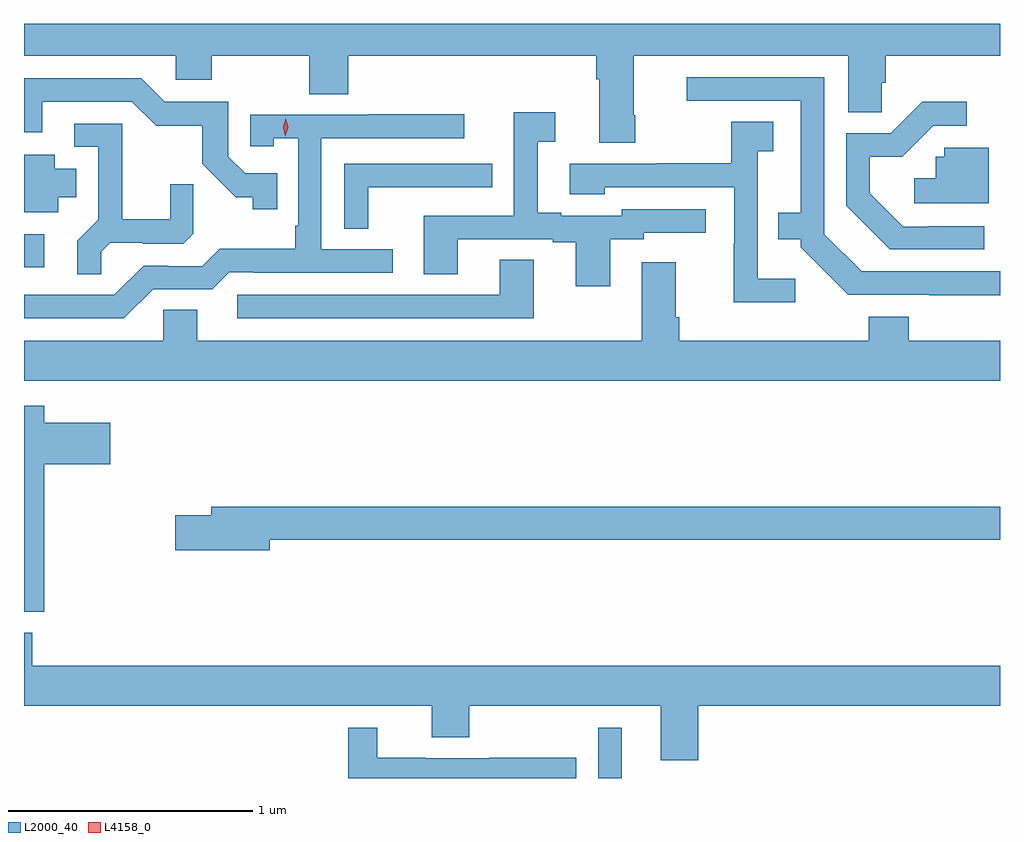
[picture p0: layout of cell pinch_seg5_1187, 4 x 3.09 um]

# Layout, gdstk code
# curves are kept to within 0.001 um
import gdstk
lib = gdstk.Library(unit=1e-6, precision=1e-09)
def R(c, l, rs):  # rectangles x0, y0, x1, y1
    for r in rs: c.add(gdstk.rectangle(r[:2], r[2:], *l))
def P(c, l, *ps):  # polygons
    for p in ps: c.add(gdstk.Polygon(p, *l))
L2000_40 = (2000, 40)
L4158_0 = (4158, 0)

pinch_seg5_1187 = lib.new_cell('pinch_seg5_1187')
R(pinch_seg5_1187, L2000_40, [(373.086,912.406,373.182,912.613), (370.733,914.501,370.816,914.637)])
P(pinch_seg5_1187, L2000_40, [(370.733,915.368),(371.355,915.368),(371.355,915.27),(371.502,915.27),(371.502,915.368),(371.902,915.368),(371.902,915.211),(372.062,915.211),(372.062,915.368),(373.079,915.368),(373.079,915.272),(373.091,915.272),(373.091,915.012),(373.239,915.012),(373.239,915.124),(373.231,915.124),(373.231,915.368),(374.111,915.368),(374.111,915.136),(374.249,915.136),(374.249,915.258),(374.264,915.258),(374.264,915.368),(374.733,915.368),(374.733,915.5),(370.733,915.5)],
  [(374.733,914.484),(374.166,914.484),(374.013,914.637),(374.013,915.279),(373.449,915.279),(373.449,915.183),(373.916,915.183),(373.916,914.725),(373.825,914.725),(373.825,914.615),(373.917,914.615),(373.917,914.583),(374.112,914.388),(374.733,914.387)],
  [(371.771,914.886),(371.64,914.886),(371.571,914.955),(371.571,915.18),(371.31,915.18),(371.214,915.276),(370.733,915.276),(370.733,915.054),(370.807,915.054),(370.807,915.18),(371.175,915.18),(371.274,915.082),(371.463,915.082),(371.463,914.926),(371.6,914.789),(371.67,914.789),(371.67,914.739),(371.771,914.739)],
  [(374.668,914.67),(374.437,914.67),(374.437,914.667),(374.337,914.667),(374.2,914.804),(374.2,914.954),(374.333,914.954),(374.46,915.081),(374.596,915.081),(374.596,915.179),(374.414,915.179),(374.286,915.051),(374.103,915.051),(374.103,914.753),(374.282,914.574),(374.668,914.574)],
  [(373.135,914.616),(373.272,914.616),(373.272,914.643),(373.528,914.643),(373.528,914.739),(373.182,914.739),(373.182,914.712),(372.934,914.712),(372.934,914.725),(372.838,914.725),(372.838,915.016),(372.91,915.016),(372.91,915.136),(372.741,915.136),(372.741,914.712),(372.371,914.712),(372.371,914.473),(372.511,914.473),(372.511,914.616),(372.899,914.616),(372.899,914.604),(372.995,914.604),(372.995,914.424),(373.135,914.424)],
  [(371.262,914.412),(371.505,914.412),(371.574,914.481),(371.674,914.481),(371.674,914.478),(372.244,914.478),(372.244,914.574),(371.952,914.574),(371.952,915.03),(372.538,915.03),(372.538,915.129),(372.145,915.129),(372.145,915.126),(371.661,915.126),(371.661,914.997),(371.757,914.997),(371.757,915.029),(371.856,915.029),(371.856,914.671),(371.844,914.671),(371.844,914.578),(371.536,914.578),(371.463,914.505),(371.324,914.505),(371.324,914.508),(371.223,914.508),(371.103,914.388),(370.733,914.388),(370.733,914.292),(371.142,914.292)],
  [(373.894,914.455),(373.74,914.455),(373.74,914.977),(373.804,914.977),(373.804,915.098),(373.632,915.098),(373.632,914.928),(373.327,914.928),(373.327,914.925),(372.969,914.925),(372.969,914.801),(373.113,914.801),(373.113,914.829),(373.644,914.829),(373.644,914.597),(373.642,914.597),(373.642,914.357),(373.894,914.357)],
  [(371.049,914.564),(371.086,914.601),(371.22,914.601),(371.22,914.598),(371.385,914.598),(371.426,914.639),(371.426,914.841),(371.332,914.841),(371.332,914.698),(371.135,914.698),(371.135,915.09),(370.938,915.09),(370.938,914.994),(371.037,914.994),(371.037,914.695),(370.951,914.609),(370.951,914.473),(371.049,914.473)],
  [(374.686,914.991),(374.505,914.991),(374.505,914.955),(374.469,914.955),(374.469,914.866),(374.382,914.866),(374.382,914.763),(374.686,914.763)],
  [(370.873,914.789),(370.948,914.789),(370.948,914.905),(370.858,914.905),(370.858,914.962),(370.733,914.962),(370.733,914.726),(370.873,914.726)],
  [(372.144,914.829),(372.539,914.829),(372.539,914.83),(372.652,914.83),(372.652,914.925),(372.045,914.925),(372.045,914.659),(372.144,914.659)],
  [(372.823,914.531),(372.683,914.531),(372.683,914.388),(371.607,914.388),(371.607,914.292),(372.823,914.292)],
  [(374.733,914.2),(374.36,914.2),(374.36,914.299),(374.195,914.299),(374.195,914.2),(373.418,914.2),(373.418,914.296),(373.405,914.296),(373.405,914.521),(373.265,914.521),(373.265,914.2),(371.443,914.2),(371.443,914.327),(371.304,914.327),(371.304,914.2),(370.733,914.2),(370.733,914.036),(374.733,914.036)],
  [(370.817,913.694),(371.086,913.694),(371.086,913.864),(370.817,913.864),(370.817,913.933),(370.733,913.933),(370.733,913.089),(370.817,913.089)],
  [(371.74,913.384),(374.733,913.384),(374.733,913.52),(371.501,913.52),(371.501,913.484),(371.352,913.484),(371.352,913.342),(371.74,913.342)],
  [(373.496,912.704),(374.733,912.704),(374.733,912.868),(370.766,912.868),(370.766,913.004),(370.733,913.004),(370.733,912.704),(372.404,912.704),(372.404,912.574),(372.557,912.574),(372.557,912.704),(373.343,912.704),(373.343,912.48),(373.496,912.48)],
  [(372.996,912.491),(372.64,912.491),(372.64,912.489),(372.378,912.489),(372.378,912.491),(372.18,912.491),(372.18,912.613),(372.061,912.613),(372.061,912.406),(372.996,912.406)])
P(pinch_seg5_1187, L4158_0, [(371.803,915.039),(371.795,915.075),(371.806,915.11),(371.806,915.111),(371.806,915.11),(371.815,915.074),(371.804,915.039),(371.804,915.039)])

lib.write_gds('pinch_seg5_1187.gds')
